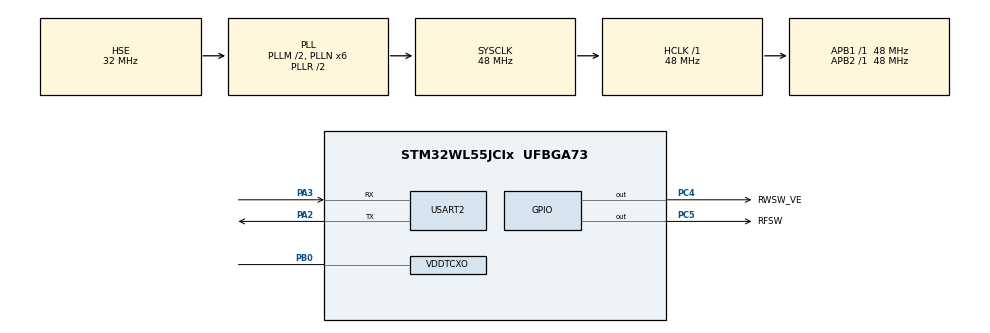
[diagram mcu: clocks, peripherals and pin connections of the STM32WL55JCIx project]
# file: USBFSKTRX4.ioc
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Mcu.Family=STM32WL
Mcu.Name=STM32WL55JCIx
Mcu.Package=UFBGA73
NVIC.PriorityGroup=NVIC_PRIORITYGROUP_4
NVIC.USART2_IRQn=true\:0\:0\:false\:false\:true\:true\:true\:true
OSC_IN.Mode=HSE-TCXO
OSC_IN.Signal=RCC_OSC_IN
PA2.Mode=Asynchronous
PA2.Signal=USART2_TX
PA3.Mode=Asynchronous
PA3.Signal=USART2_RX
PB0-VDD_TCXO.Mode=HSE-TCXO
PB0-VDD_TCXO.Signal=VDDTCXO
PC4.GPIO_Label=RWSW_VE
PC4.Signal=GPIO_Output
PC5.GPIO_Label=RFSW
PC5.Signal=GPIO_Output
ProjectManager.HeapSize=0x200
ProjectManager.StackSize=0x400
ProjectManager.TargetToolchain=STM32CubeIDE
RCC.AHBFreq_Value=48000000
RCC.APB1Freq_Value=48000000
RCC.APB1TimFreq_Value=48000000
RCC.APB2Freq_Value=48000000
RCC.APB2TimFreq_Value=48000000
RCC.APB3Freq_Value=48000000
RCC.CortexFreq_Value=48000000
RCC.HCLKFreq_Value=48000000
RCC.HSE_VALUE=32000000
RCC.HSI_VALUE=16000000
RCC.LSE_VALUE=32768
RCC.PLLM=RCC_PLLM_DIV2
RCC.PLLN=6
RCC.PLLSourceVirtual=RCC_PLLSOURCE_HSE
RCC.SYSCLKFreq_VALUE=48000000
RCC.SYSCLKSource=RCC_SYSCLKSOURCE_PLLCLK
RCC.VCOOutputFreq_Value=96000000
TIM2.AutoReloadPreload=TIM_AUTORELOAD_PRELOAD_DISABLE
TIM2.Prescaler=47
USART2.VirtualMode-Asynchronous=VM_ASYNC
VP_ADV_TRACE_VS_ADV_TRACE.Mode=ADV_TRACE_Enabled
VP_MISC_VS_MISC.Mode=MISC_Enabled
VP_SEQUENCER_M4_VS_SEQUENCER.Mode=SEQUENCER_Enabled
VP_SUBGHZ_PHY_VS_SubGhzPhy.Mode=SubGhzPhy_Enabled
VP_SUBGHZ_VS_SUBGHZ.Mode=SUBGHZ_Activate
VP_TIM2_VS_ClockSourceINT.Mode=Internal
VP_TIMER_VS_TIMER.Mode=TIMER_Enabled
VP_TINY_LPM_VS_TINY_LPM.Mode=TINY_LPM_Enabled
board=custom

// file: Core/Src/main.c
/* USER CODE BEGIN Header */
/**
  ******************************************************************************
  * @file           : main.c
  * @brief          : Main program body
  ******************************************************************************
  * @attention
  *
  * Copyright (c) 2026 STMicroelectronics.
  * All rights reserved.
  *
  * This software is licensed under terms that can be found in the LICENSE file
  * in the root directory of this software component.
  * If no LICENSE file comes with this software, it is provided AS-IS.
  *
  ******************************************************************************
  */
/* USER CODE END Header */
#include "main.h"
#include "app_subghz_phy.h"

/* USER CODE BEGIN Includes */
#include "stdio.h"
#include "string.h"
#include "radio_driver.h"
#include "UART_F.h"
#include "project_config.h"
/* USER CODE END Includes */

/* USER CODE BEGIN PM */
PacketParams_t     pkt_params;
ModulationParams_t mod_params;
/* USER CODE END PM */

SUBGHZ_HandleTypeDef hsubghz;

TIM_HandleTypeDef htim2;

UART_HandleTypeDef huart2;

void SystemClock_Config(void);
static void MX_GPIO_Init(void);
static void MX_USART2_UART_Init(void);
static void MX_TIM2_Init(void);

/* USER CODE BEGIN 0 */

extern uint8_t RAWTX_Data_Bffr[];
extern int16_t RAWTX_Data_Bffr_length;

uint8_t TRX_MODE;
uint8_t G3RUH_TXDataBuffer[255] ;

#define RX_FREQ_CENTER    435300000UL   // your target frequency Hz
#define RX_FREQ_MARGIN    20000UL       // ±30 kHz max correction window

#define RX_FREQ_MIN       (RX_FREQ_CENTER - RX_FREQ_MARGIN)  // 435250000
#define RX_FREQ_MAX       (RX_FREQ_CENTER + RX_FREQ_MARGIN)  // 435350000

void delay_us(uint32_t us)
{
    uint32_t start = __HAL_TIM_GET_COUNTER(&htim2);

    while ((__HAL_TIM_GET_COUNTER(&htim2) - start) < us);
}

void delay_ms(uint32_t ms)
{
    while(ms--) delay_us(1000);
}

/* USER CODE END 0 */

int main(void)
{

  /* MCU Configuration--------------------------------------------------------*/

  /* Reset of all peripherals, Initializes the Flash interface and the Systick. */
  HAL_Init();

  /* USER CODE BEGIN Init */
  //HAL_Init();

  /* USER CODE END Init */

  /* Configure the system clock */
  SystemClock_Config();

  /* USER CODE BEGIN SysInit */
  SystemCoreClockUpdate();
  /* USER CODE END SysInit */

  /* Initialize all configured peripherals */
  MX_GPIO_Init();
  MX_USART2_UART_Init();
  MX_SubGHz_Phy_Init();
  MX_TIM2_Init();
  /* USER CODE BEGIN 2 */
  /* UART */
  Serial2_begin(115200);
  HAL_TIM_Base_Start(&htim2);

  /* Radio init */
  SUBGRF_Init(NULL);

  SUBGRF_SetStandby(STDBY_RC);

  SUBGRF_SetBufferBaseAddress(0x00, 0x00);

  // packet parameters
  pkt_params.PacketType = PACKET_TYPE_GFSK;
  pkt_params.Params.Gfsk.PayloadLength     = 160;
  pkt_params.Params.Gfsk.PreambleLength    = 2400;   // important, in bits
  pkt_params.Params.Gfsk.PreambleMinDetect = RADIO_PREAMBLE_DETECTOR_32_BITS; //RADIO_PREAMBLE_DETECTOR_OFF;

  pkt_params.Params.Gfsk.AddrComp   = RADIO_ADDRESSCOMP_FILT_OFF;
  pkt_params.Params.Gfsk.HeaderType = RADIO_PACKET_FIXED_LENGTH;//RADIO_PACKET_VARIABLE_LENGTH;
  pkt_params.Params.Gfsk.CrcLength  = RADIO_CRC_OFF;
  pkt_params.Params.Gfsk.DcFree     = RADIO_DC_FREE_OFF;

  pkt_params.Params.Gfsk.SyncWordLength = 0;

  //uint8_t syncWord[4] = {0x4A, 0xC4, 0xFE, 0xDA};
  //SUBGRF_SetSyncWord(syncWord);

  // modulation parameters
  mod_params.PacketType = PACKET_TYPE_GFSK;
  mod_params.Params.Gfsk.BitRate = 4800;
  mod_params.Params.Gfsk.Fdev = 1200;
  mod_params.Params.Gfsk.Bandwidth = RX_BW_23400 ;
  mod_params.Params.Gfsk.ModulationShaping = MOD_SHAPING_G_BT_05;

  SUBGRF_SetPacketParams(&pkt_params);
  SUBGRF_SetModulationParams(&mod_params);
  SUBGRF_SetRfFrequency(435313000);
  SUBGRF_SetPaConfig(0x04, 0x07, 0x00, 0x01);
  //SUBGRF_SetTxParams(RFO_HP,5,6);
  SUBGRF_SetTxParams(RFO_HP, 5, RADIO_RAMP_200_US);

  SUBGRF_SetDioIrqParams(
      IRQ_RX_DONE | IRQ_RX_TX_TIMEOUT,
      IRQ_RX_DONE | IRQ_RX_TX_TIMEOUT,
      IRQ_RADIO_NONE,
      IRQ_RADIO_NONE
  );

  /* USER CODE END 2 */

  /* Infinite loop */
  /* USER CODE BEGIN WHILE */

  MX_SubGHz_Phy_Process();
  INITIALIZE_RX_PARAMETERS();
  SUBGRF_SetRxBoosted(0xFFFFFF);
  uint16_t irq_status;

  uint8_t rx_buffer[600];
  uint8_t size;
  uint8_t offset;

  HAL_GPIO_WritePin(GPIOC, GPIO_PIN_4, GPIO_PIN_RESET);

  //volatile uint8_t data_ready = 0;

  while (1)
  {
    /* USER CODE END WHILE */
    MX_SubGHz_Phy_Process();

    /* USER CODE BEGIN 3 */

    CAPTURE_PC_COMMAND();
    if( TRX_MODE == TRX_TX )
    {
	HAL_GPIO_WritePin(GPIOC, GPIO_PIN_5, GPIO_PIN_SET);

	SUBGRF_SetRfFrequency(435313000);
	/* Switch radio to TX packet size to 255 */
	pkt_params.Params.Gfsk.PayloadLength = 255;
	SUBGRF_SetPacketParams(&pkt_params);

        /* Configure TX IRQs */
        SUBGRF_SetDioIrqParams(
            IRQ_TX_DONE | IRQ_RX_TX_TIMEOUT,
            IRQ_TX_DONE | IRQ_RX_TX_TIMEOUT,
            IRQ_RADIO_NONE,
            IRQ_RADIO_NONE
        );

        AX25_txInitCfg();

        uint16_t G3RUH_Frame_Length = Build_G3RUH_TX_Frame( RAWTX_Data_Bffr, RAWTX_Data_Bffr_length, G3RUH_TXDataBuffer);

        SUBGRF_SetPayload(G3RUH_TXDataBuffer, G3RUH_Frame_Length);

        /* VERY IMPORTANT */
        SUBGRF_ClearIrqStatus(IRQ_RADIO_ALL);

        /* Start transmission */
        SUBGRF_SetTx(0);

        /* Wait until TX finished */
        uint16_t irqStatus;
        do
        {
            irqStatus = SUBGRF_GetIrqStatus();
        }
        while( (irqStatus & IRQ_TX_DONE) == 0 );

        /* Configure RX IRQs */
        SUBGRF_SetDioIrqParams(
            IRQ_RX_DONE | IRQ_RX_TX_TIMEOUT,
            IRQ_RX_DONE | IRQ_RX_TX_TIMEOUT,
            IRQ_RADIO_NONE,
            IRQ_RADIO_NONE
        );

        /* Switch radio to RX packet size to 160 */
        pkt_params.Params.Gfsk.PayloadLength = 160;
        SUBGRF_SetPacketParams(&pkt_params);

        /* Clear TX_DONE */
	SUBGRF_ClearIrqStatus(IRQ_TX_DONE);

	/* Switch to RX */
	SUBGRF_SetRxBoosted(0xFFFFFF);

        TRX_MODE = TRX_RX;

        SUBGRF_SetRfFrequency(437375000);
        HAL_GPIO_WritePin(GPIOC, GPIO_PIN_5, GPIO_PIN_RESET);
    }

    // Read and process pending radio interrupt flags
    irq_status = SUBGRF_GetIrqStatus();

    // Packet reception completed successfully
    if (irq_status & IRQ_RX_DONE)
    {
        // Clear RX_DONE interrupt flag
        SUBGRF_ClearIrqStatus(IRQ_RX_DONE);
        // Get received packet size and buffer offset
        SUBGRF_GetRxBufferStatus(&size, &offset);
        // Read received packet from radio FIFO buffer
        SUBGRF_ReadBuffer(offset, rx_buffer, 160);
        // Return radio to continuous receive mode
        SUBGRF_SetRxBoosted(0xFFFFFF);
        // Pass received packet to G3RUH decoder
        G3RUH_Process_Received_Bytes(rx_buffer, 160);

        INITIALIZE_RX_PARAMETERS();
    }

    // Reception timeout occurred (no valid packet received)
    if (irq_status & IRQ_RX_TX_TIMEOUT)
    {
        // Clear timeout interrupt flag
        SUBGRF_ClearIrqStatus(IRQ_RX_TX_TIMEOUT);
        // Restart receiver with infinite timeout
        SUBGRF_SetRxBoosted(0xFFFFFF);
    }
  }
  /* USER CODE END 3 */
}

void SystemClock_Config(void)
{
  RCC_OscInitTypeDef RCC_OscInitStruct = {0};
  RCC_ClkInitTypeDef RCC_ClkInitStruct = {0};

  /** Configure the main internal regulator output voltage
  */
  __HAL_PWR_VOLTAGESCALING_CONFIG(PWR_REGULATOR_VOLTAGE_SCALE1);

  /** Initializes the CPU, AHB and APB buses clocks
  */
  RCC_OscInitStruct.OscillatorType = RCC_OSCILLATORTYPE_HSE;
  RCC_OscInitStruct.HSEState = RCC_HSE_BYPASS_PWR;
  RCC_OscInitStruct.HSEDiv = RCC_HSE_DIV1;
  RCC_OscInitStruct.PLL.PLLState = RCC_PLL_ON;
  RCC_OscInitStruct.PLL.PLLSource = RCC_PLLSOURCE_HSE;
  RCC_OscInitStruct.PLL.PLLM = RCC_PLLM_DIV2;
  RCC_OscInitStruct.PLL.PLLN = 6;
  RCC_OscInitStruct.PLL.PLLP = RCC_PLLP_DIV2;
  RCC_OscInitStruct.PLL.PLLR = RCC_PLLR_DIV2;
  RCC_OscInitStruct.PLL.PLLQ = RCC_PLLQ_DIV2;
  if (HAL_RCC_OscConfig(&RCC_OscInitStruct) != HAL_OK)
  {
    Error_Handler();
  }

  /** Configure the SYSCLKSource, HCLK, PCLK1 and PCLK2 clocks dividers
  */
  RCC_ClkInitStruct.ClockType = RCC_CLOCKTYPE_HCLK3|RCC_CLOCKTYPE_HCLK
                              |RCC_CLOCKTYPE_SYSCLK|RCC_CLOCKTYPE_PCLK1
                              |RCC_CLOCKTYPE_PCLK2;
  RCC_ClkInitStruct.SYSCLKSource = RCC_SYSCLKSOURCE_PLLCLK;
  RCC_ClkInitStruct.AHBCLKDivider = RCC_SYSCLK_DIV1;
  RCC_ClkInitStruct.APB1CLKDivider = RCC_HCLK_DIV1;
  RCC_ClkInitStruct.APB2CLKDivider = RCC_HCLK_DIV1;
  RCC_ClkInitStruct.AHBCLK3Divider = RCC_SYSCLK_DIV1;

  if (HAL_RCC_ClockConfig(&RCC_ClkInitStruct, FLASH_LATENCY_2) != HAL_OK)
  {
    Error_Handler();
  }
}

void MX_SUBGHZ_Init(void)
{

  hsubghz.Init.BaudratePrescaler = SUBGHZSPI_BAUDRATEPRESCALER_8;
  if (HAL_SUBGHZ_Init(&hsubghz) != HAL_OK)
  {
    Error_Handler();
  }

}

static void MX_TIM2_Init(void)
{

  TIM_ClockConfigTypeDef sClockSourceConfig = {0};
  TIM_MasterConfigTypeDef sMasterConfig = {0};

  htim2.Instance = TIM2;
  htim2.Init.Prescaler = 47;
  htim2.Init.CounterMode = TIM_COUNTERMODE_UP;
  htim2.Init.Period = 4294967295;
  htim2.Init.ClockDivision = TIM_CLOCKDIVISION_DIV1;
  htim2.Init.AutoReloadPreload = TIM_AUTORELOAD_PRELOAD_DISABLE;
  if (HAL_TIM_Base_Init(&htim2) != HAL_OK)
  {
    Error_Handler();
  }
  sClockSourceConfig.ClockSource = TIM_CLOCKSOURCE_INTERNAL;
  if (HAL_TIM_ConfigClockSource(&htim2, &sClockSourceConfig) != HAL_OK)
  {
    Error_Handler();
  }
  sMasterConfig.MasterOutputTrigger = TIM_TRGO_RESET;
  sMasterConfig.MasterSlaveMode = TIM_MASTERSLAVEMODE_DISABLE;
  if (HAL_TIMEx_MasterConfigSynchronization(&htim2, &sMasterConfig) != HAL_OK)
  {
    Error_Handler();
  }

}

static void MX_USART2_UART_Init(void)
{

  huart2.Instance = USART2;
  huart2.Init.BaudRate = 115200;
  huart2.Init.WordLength = UART_WORDLENGTH_8B;
  huart2.Init.StopBits = UART_STOPBITS_1;
  huart2.Init.Parity = UART_PARITY_NONE;
  huart2.Init.Mode = UART_MODE_TX_RX;
  huart2.Init.HwFlowCtl = UART_HWCONTROL_NONE;
  huart2.Init.OverSampling = UART_OVERSAMPLING_16;
  huart2.Init.OneBitSampling = UART_ONE_BIT_SAMPLE_DISABLE;
  huart2.Init.ClockPrescaler = UART_PRESCALER_DIV1;
  huart2.AdvancedInit.AdvFeatureInit = UART_ADVFEATURE_NO_INIT;
  if (HAL_UART_Init(&huart2) != HAL_OK)
  {
    Error_Handler();
  }
  if (HAL_UARTEx_SetTxFifoThreshold(&huart2, UART_TXFIFO_THRESHOLD_1_8) != HAL_OK)
  {
    Error_Handler();
  }
  if (HAL_UARTEx_SetRxFifoThreshold(&huart2, UART_RXFIFO_THRESHOLD_1_8) != HAL_OK)
  {
    Error_Handler();
  }
  if (HAL_UARTEx_DisableFifoMode(&huart2) != HAL_OK)
  {
    Error_Handler();
  }

}

static void MX_GPIO_Init(void)
{
  GPIO_InitTypeDef GPIO_InitStruct = {0};

  /* GPIO Ports Clock Enable */
  __HAL_RCC_GPIOC_CLK_ENABLE();
  __HAL_RCC_GPIOB_CLK_ENABLE();
  __HAL_RCC_GPIOA_CLK_ENABLE();

  /*Configure GPIO pin Output Level */
  HAL_GPIO_WritePin(GPIOC, RFSW_Pin|RWSW_VE_Pin, GPIO_PIN_RESET);

  /*Configure GPIO pins : RFSW_Pin RWSW_VE_Pin */
  GPIO_InitStruct.Pin = RFSW_Pin|RWSW_VE_Pin;
  GPIO_InitStruct.Mode = GPIO_MODE_OUTPUT_PP;
  GPIO_InitStruct.Pull = GPIO_NOPULL;
  GPIO_InitStruct.Speed = GPIO_SPEED_FREQ_LOW;
  HAL_GPIO_Init(GPIOC, &GPIO_InitStruct);

}

void Error_Handler(void)
{
  __disable_irq();
  while (1)
  {
  }
}
